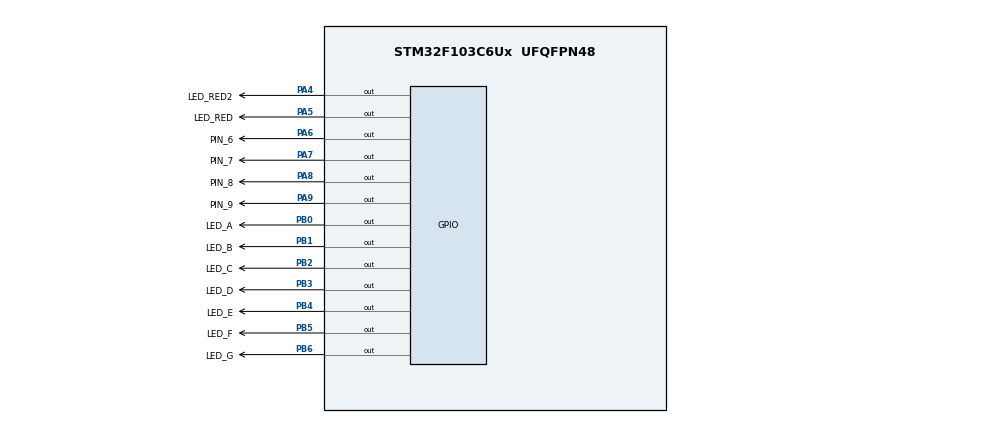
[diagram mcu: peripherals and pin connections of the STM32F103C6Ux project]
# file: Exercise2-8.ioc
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Mcu.Family=STM32F1
Mcu.Name=STM32F103C6Ux
Mcu.Package=UFQFPN48
NVIC.PriorityGroup=NVIC_PRIORITYGROUP_4
NVIC.TIM2_IRQn=true\:0\:0\:false\:false\:true\:true\:true
PA4.GPIO_Label=LED_RED2
PA4.Signal=GPIO_Output
PA5.GPIO_Label=LED_RED
PA5.Signal=GPIO_Output
PA6.GPIO_Label=PIN_6
PA6.Signal=GPIO_Output
PA7.GPIO_Label=PIN_7
PA7.Signal=GPIO_Output
PA8.GPIO_Label=PIN_8
PA8.Signal=GPIO_Output
PA9.GPIO_Label=PIN_9
PA9.Signal=GPIO_Output
PB0.GPIO_Label=LED_A
PB0.Signal=GPIO_Output
PB1.GPIO_Label=LED_B
PB1.Signal=GPIO_Output
PB2.GPIO_Label=LED_C
PB2.Signal=GPIO_Output
PB3.GPIO_Label=LED_D
PB3.Signal=GPIO_Output
PB4.GPIO_Label=LED_E
PB4.Signal=GPIO_Output
PB5.GPIO_Label=LED_F
PB5.Signal=GPIO_Output
PB6.GPIO_Label=LED_G
PB6.Signal=GPIO_Output
ProjectManager.HeapSize=0x200
ProjectManager.StackSize=0x400
ProjectManager.TargetToolchain=STM32CubeIDE
RCC.APB1Freq_Value=8000000
RCC.APB2Freq_Value=8000000
TIM2.Period=9
TIM2.Prescaler=7999
VP_SYS_VS_ND.Mode=No_Debug
VP_TIM2_VS_ClockSourceINT.Mode=Internal
board=custom

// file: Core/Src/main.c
/* USER CODE BEGIN Header */
/**
  ******************************************************************************
  * @file           : main.c
  * @brief          : Main program body
  ******************************************************************************
  * @attention
  *
  * <h2><center>&copy; Copyright (c) 2024 STMicroelectronics.
  * All rights reserved.</center></h2>
  *
  * This software component is licensed by ST under BSD 3-Clause license,
  * the "License"; You may not use this file except in compliance with the
  * License. You may obtain a copy of the License at:
  *                        opensource.org/licenses/BSD-3-Clause
  *
  ******************************************************************************
  */
/* USER CODE END Header */
#include "main.h"
#include<software_timer.h>

TIM_HandleTypeDef htim2;

void SystemClock_Config(void);
static void MX_GPIO_Init(void);
static void MX_TIM2_Init(void);

void clear7SEG() {
    HAL_GPIO_WritePin(GPIOB, LED_A_Pin | LED_B_Pin | LED_C_Pin | LED_D_Pin | LED_E_Pin | LED_F_Pin | LED_G_Pin, GPIO_PIN_SET);
}

void display7SEG(int num) {
    clear7SEG();

    switch(num) {
        case 0:
            HAL_GPIO_WritePin(GPIOB, LED_A_Pin | LED_B_Pin | LED_C_Pin | LED_D_Pin | LED_E_Pin | LED_F_Pin, GPIO_PIN_RESET);
            break;
        case 1:
            HAL_GPIO_WritePin(GPIOB, LED_B_Pin | LED_C_Pin, GPIO_PIN_RESET);
            break;
        case 2:
            HAL_GPIO_WritePin(GPIOB, LED_A_Pin | LED_B_Pin | LED_D_Pin | LED_E_Pin | LED_G_Pin, GPIO_PIN_RESET);
            break;
        case 3:
            HAL_GPIO_WritePin(GPIOB, LED_A_Pin | LED_B_Pin | LED_C_Pin | LED_D_Pin | LED_G_Pin, GPIO_PIN_RESET);
            break;
        case 4:
            HAL_GPIO_WritePin(GPIOB, LED_B_Pin | LED_C_Pin | LED_F_Pin | LED_G_Pin, GPIO_PIN_RESET);
            break;
        case 5:
            HAL_GPIO_WritePin(GPIOB, LED_A_Pin | LED_C_Pin | LED_D_Pin | LED_F_Pin | LED_G_Pin, GPIO_PIN_RESET);
            break;
        case 6:
            HAL_GPIO_WritePin(GPIOB, LED_A_Pin | LED_C_Pin | LED_D_Pin | LED_E_Pin | LED_F_Pin | LED_G_Pin, GPIO_PIN_RESET);
            break;
        case 7:
            HAL_GPIO_WritePin(GPIOB, LED_A_Pin | LED_B_Pin | LED_C_Pin, GPIO_PIN_RESET);
            break;
        case 8:
            HAL_GPIO_WritePin(GPIOB, LED_A_Pin | LED_B_Pin | LED_C_Pin | LED_D_Pin | LED_E_Pin | LED_F_Pin | LED_G_Pin, GPIO_PIN_RESET);
            break;
        case 9:
            HAL_GPIO_WritePin(GPIOB, LED_A_Pin | LED_B_Pin | LED_C_Pin | LED_D_Pin | LED_F_Pin | LED_G_Pin, GPIO_PIN_RESET);
            break;
        default:
            break;
    }
}

const int MAX_LED_MATRIX = 4;
int index_led = 0;
int led_buffer[4] = {1,2,3,4};

void update7SEG(int index) {
	switch(index) {
		case 0:
			display7SEG(led_buffer[0]);
			HAL_GPIO_WritePin(GPIOA, GPIO_PIN_6, GPIO_PIN_RESET);
			HAL_GPIO_WritePin(GPIOA, GPIO_PIN_7 | GPIO_PIN_8 | GPIO_PIN_9, GPIO_PIN_SET);
			break;
		case 1:
			display7SEG(led_buffer[1]);
			HAL_GPIO_WritePin(GPIOA, GPIO_PIN_7, GPIO_PIN_RESET);
			HAL_GPIO_WritePin(GPIOA, GPIO_PIN_6 | GPIO_PIN_8 | GPIO_PIN_9, GPIO_PIN_SET);
			break;
		case 2:
			display7SEG(led_buffer[2]);
			HAL_GPIO_WritePin(GPIOA, GPIO_PIN_8, GPIO_PIN_RESET);
			HAL_GPIO_WritePin(GPIOA, GPIO_PIN_6 | GPIO_PIN_7 | GPIO_PIN_9, GPIO_PIN_SET);
			break;
		case 3:
			display7SEG(led_buffer[3]);
			HAL_GPIO_WritePin(GPIOA, GPIO_PIN_9, GPIO_PIN_RESET);
			HAL_GPIO_WritePin(GPIOA, GPIO_PIN_6 | GPIO_PIN_7 | GPIO_PIN_8, GPIO_PIN_SET);
			break;
		default:
			break;
	}
}

void updateClockBuffer(int hour, int minute) {
	if(hour / 10 == 0) {
		led_buffer[0] = 0;
		led_buffer[1] = hour;
	} else {
		led_buffer[0] = hour / 10;
		led_buffer[1] = hour % 10;
	}

	if(minute / 10 == 0) {
		led_buffer[2] = 0;
		led_buffer[3] = minute;
	} else {
		led_buffer[2] = minute / 10;
		led_buffer[3] = minute % 10;
	}
}

int main(void)
{

  /* MCU Configuration--------------------------------------------------------*/

  /* Reset of all peripherals, Initializes the Flash interface and the Systick. */
  HAL_Init();

  /* Configure the system clock */
  SystemClock_Config();

  /* Initialize all configured peripherals */
  MX_GPIO_Init();
  MX_TIM2_Init();
  /* USER CODE BEGIN 2 */
  HAL_TIM_Base_Start_IT (& htim2 ) ;
  /* USER CODE END 2 */

  /* Infinite loop */
  /* USER CODE BEGIN WHILE */
  //Exercise 2
    setTimer(0,1000);
    setTimer(1,500);
    int index = 0;
    while (1)
    {
      /* USER CODE END WHILE */
      /* USER CODE BEGIN 3 */
  		if(isTimerExpired(0)) {
  			setTimer(0,1000);
  			HAL_GPIO_TogglePin(LED_RED_GPIO_Port, LED_RED_Pin);
  			HAL_GPIO_TogglePin(LED_RED2_GPIO_Port, LED_RED2_Pin);
  		 }

  		if(isTimerExpired(1)) {
  		    setTimer(1,500);
  		    update7SEG(index++);
  		}
  				 if(index > 3) {
  					 index = 0;
  				 }
    }

  //Exercise 6-7-8
    /*
  setTimer(0,1000);
  setTimer(1,1000);
  int index = 0;
  int hour = 2, minute = 10, second = 50;

  while (1)
  {
    /* USER CODE END WHILE */
    /* USER CODE BEGIN 3 */
	/*	if(isTimerExpired(0)) {
			setTimer(0,1000);
			HAL_GPIO_TogglePin(LED_RED_GPIO_Port, LED_RED_Pin);
			HAL_GPIO_TogglePin(LED_RED2_GPIO_Port, LED_RED2_Pin);
		 }

		 if(isTimerExpired(1)) {
		     setTimer(1,1000);
		     second++;
		     if(second > 60) {
		     	 second = 0;
		     	 minute++;
		     }

		     if(minute >= 60) {
		     	 minute = 0;
		     	 hour++;
		     }

		     if(hour >= 24) {
		     	 hour = 0;
		     }

		     updateClockBuffer(hour, minute);
		     update7SEG(index++);
		 }
		 	if(index > 3) {
		 		index = 0;
		 	}
  } */
  /* USER CODE END 3 */
}

void SystemClock_Config(void)
{
  RCC_OscInitTypeDef RCC_OscInitStruct = {0};
  RCC_ClkInitTypeDef RCC_ClkInitStruct = {0};

  /** Initializes the RCC Oscillators according to the specified parameters
  * in the RCC_OscInitTypeDef structure.
  */
  RCC_OscInitStruct.OscillatorType = RCC_OSCILLATORTYPE_HSI;
  RCC_OscInitStruct.HSIState = RCC_HSI_ON;
  RCC_OscInitStruct.HSICalibrationValue = RCC_HSICALIBRATION_DEFAULT;
  RCC_OscInitStruct.PLL.PLLState = RCC_PLL_NONE;
  if (HAL_RCC_OscConfig(&RCC_OscInitStruct) != HAL_OK)
  {
    Error_Handler();
  }
  /** Initializes the CPU, AHB and APB buses clocks
  */
  RCC_ClkInitStruct.ClockType = RCC_CLOCKTYPE_HCLK|RCC_CLOCKTYPE_SYSCLK
                              |RCC_CLOCKTYPE_PCLK1|RCC_CLOCKTYPE_PCLK2;
  RCC_ClkInitStruct.SYSCLKSource = RCC_SYSCLKSOURCE_HSI;
  RCC_ClkInitStruct.AHBCLKDivider = RCC_SYSCLK_DIV1;
  RCC_ClkInitStruct.APB1CLKDivider = RCC_HCLK_DIV1;
  RCC_ClkInitStruct.APB2CLKDivider = RCC_HCLK_DIV1;

  if (HAL_RCC_ClockConfig(&RCC_ClkInitStruct, FLASH_LATENCY_0) != HAL_OK)
  {
    Error_Handler();
  }
}

static void MX_TIM2_Init(void)
{

  TIM_ClockConfigTypeDef sClockSourceConfig = {0};
  TIM_MasterConfigTypeDef sMasterConfig = {0};

  htim2.Instance = TIM2;
  htim2.Init.Prescaler = 7999;
  htim2.Init.CounterMode = TIM_COUNTERMODE_UP;
  htim2.Init.Period = 9;
  htim2.Init.ClockDivision = TIM_CLOCKDIVISION_DIV1;
  htim2.Init.AutoReloadPreload = TIM_AUTORELOAD_PRELOAD_DISABLE;
  if (HAL_TIM_Base_Init(&htim2) != HAL_OK)
  {
    Error_Handler();
  }
  sClockSourceConfig.ClockSource = TIM_CLOCKSOURCE_INTERNAL;
  if (HAL_TIM_ConfigClockSource(&htim2, &sClockSourceConfig) != HAL_OK)
  {
    Error_Handler();
  }
  sMasterConfig.MasterOutputTrigger = TIM_TRGO_RESET;
  sMasterConfig.MasterSlaveMode = TIM_MASTERSLAVEMODE_DISABLE;
  if (HAL_TIMEx_MasterConfigSynchronization(&htim2, &sMasterConfig) != HAL_OK)
  {
    Error_Handler();
  }

}

static void MX_GPIO_Init(void)
{
  GPIO_InitTypeDef GPIO_InitStruct = {0};

  /* GPIO Ports Clock Enable */
  __HAL_RCC_GPIOA_CLK_ENABLE();
  __HAL_RCC_GPIOB_CLK_ENABLE();

  /*Configure GPIO pin Output Level */
  HAL_GPIO_WritePin(GPIOA, LED_RED2_Pin|LED_RED_Pin|PIN_6_Pin|PIN_7_Pin
                          |PIN_8_Pin|PIN_9_Pin, GPIO_PIN_RESET);

  /*Configure GPIO pin Output Level */
  HAL_GPIO_WritePin(GPIOB, LED_A_Pin|LED_B_Pin|LED_C_Pin|LED_D_Pin
                          |LED_E_Pin|LED_F_Pin|LED_G_Pin, GPIO_PIN_RESET);

  /*Configure GPIO pins : LED_RED2_Pin LED_RED_Pin PIN_6_Pin PIN_7_Pin
                           PIN_8_Pin PIN_9_Pin */
  GPIO_InitStruct.Pin = LED_RED2_Pin|LED_RED_Pin|PIN_6_Pin|PIN_7_Pin
                          |PIN_8_Pin|PIN_9_Pin;
  GPIO_InitStruct.Mode = GPIO_MODE_OUTPUT_PP;
  GPIO_InitStruct.Pull = GPIO_NOPULL;
  GPIO_InitStruct.Speed = GPIO_SPEED_FREQ_LOW;
  HAL_GPIO_Init(GPIOA, &GPIO_InitStruct);

  /*Configure GPIO pins : LED_A_Pin LED_B_Pin LED_C_Pin LED_D_Pin
                           LED_E_Pin LED_F_Pin LED_G_Pin */
  GPIO_InitStruct.Pin = LED_A_Pin|LED_B_Pin|LED_C_Pin|LED_D_Pin
                          |LED_E_Pin|LED_F_Pin|LED_G_Pin;
  GPIO_InitStruct.Mode = GPIO_MODE_OUTPUT_PP;
  GPIO_InitStruct.Pull = GPIO_NOPULL;
  GPIO_InitStruct.Speed = GPIO_SPEED_FREQ_LOW;
  HAL_GPIO_Init(GPIOB, &GPIO_InitStruct);

}

/* USER CODE BEGIN 4 */
int counter = 100;
void HAL_TIM_PeriodElapsedCallback(TIM_HandleTypeDef *htim) {
	timerRun();
}
/* USER CODE END 4 */

void Error_Handler(void)
{
  __disable_irq();
  while (1)
  {
  }
}

/************************ (C) COPYRIGHT STMicroelectronics *****END OF FILE****/
